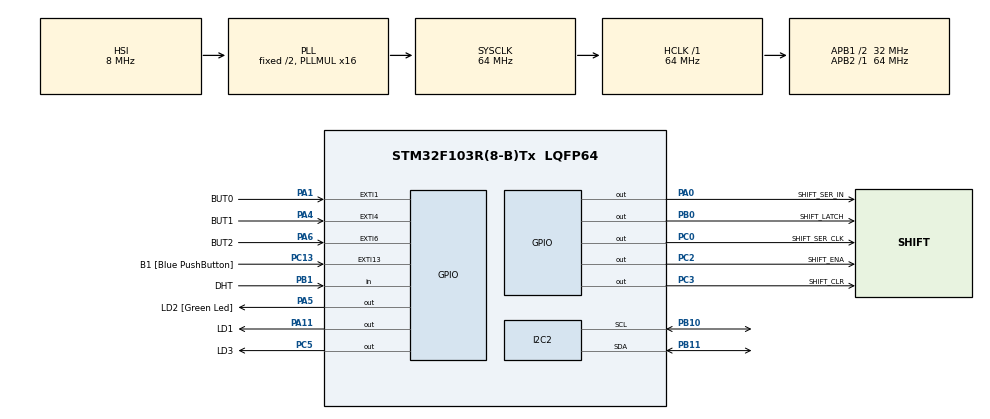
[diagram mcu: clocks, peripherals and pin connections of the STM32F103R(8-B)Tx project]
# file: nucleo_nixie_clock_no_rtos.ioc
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Mcu.Family=STM32F1
Mcu.Name=STM32F103R(8-B)Tx
Mcu.Package=LQFP64
NVIC.EXTI1_IRQn=true\:0\:0\:false\:true\:true\:3\:true
NVIC.EXTI4_IRQn=true\:0\:0\:false\:true\:true\:1\:true
NVIC.EXTI9_5_IRQn=true\:0\:0\:false\:true\:true\:2\:true
NVIC.PriorityGroup=NVIC_PRIORITYGROUP_4
NVIC.TIM3_IRQn=true\:0\:0\:false\:false\:true\:true
PA0-WKUP.GPIO_Label=SHIFT_SER_IN
PA0-WKUP.Signal=GPIO_Output
PA1.GPIO_Label=BUT0
PA1.GPIO_ModeDefaultEXTI=GPIO_MODE_IT_RISING_FALLING
PA1.GPIO_PuPd=GPIO_PULLUP
PA1.Signal=GPXTI1
PA11.GPIO_Label=LD1
PA11.Signal=GPIO_Output
PA13.GPIO_Label=TMS
PA13.Mode=Serial_Wire
PA13.Signal=SYS_JTMS-SWDIO
PA14.GPIO_Label=TCK
PA14.Mode=Serial_Wire
PA14.Signal=SYS_JTCK-SWCLK
PA2.GPIO_Label=USART_TX
PA2.GPIO_Mode=GPIO_MODE_AF_PP
PA2.GPIO_PuPd=GPIO_NOPULL
PA2.GPIO_Speed=GPIO_SPEED_FREQ_LOW
PA2.Signal=USART2_TX
PA3.GPIO_Label=USART_RX
PA3.GPIO_Mode=GPIO_MODE_AF_PP
PA3.GPIO_PuPd=GPIO_NOPULL
PA3.GPIO_Speed=GPIO_SPEED_FREQ_LOW
PA3.Signal=USART2_RX
PA4.GPIO_Label=BUT1
PA4.GPIO_ModeDefaultEXTI=GPIO_MODE_IT_RISING_FALLING
PA4.GPIO_PuPd=GPIO_PULLUP
PA4.Signal=GPXTI4
PA5.GPIO_Label=LD2 [Green Led]
PA5.GPIO_ModeDefaultOutputPP=GPIO_MODE_OUTPUT_PP
PA5.GPIO_PuPd=GPIO_NOPULL
PA5.GPIO_Speed=GPIO_SPEED_FREQ_LOW
PA5.Signal=GPIO_Output
PA6.GPIO_Label=BUT2
PA6.GPIO_ModeDefaultEXTI=GPIO_MODE_IT_RISING_FALLING
PA6.GPIO_PuPd=GPIO_PULLUP
PA6.Signal=GPXTI6
PB0.GPIO_Label=SHIFT_LATCH
PB0.Signal=GPIO_Output
PB1.GPIO_Label=DHT
PB1.Signal=GPIO_Input
PB10.Mode=I2C
PB10.Signal=I2C2_SCL
PB11.Mode=I2C
PB11.Signal=I2C2_SDA
PB3.GPIO_Label=SWO
PB3.Signal=SYS_JTDO-TRACESWO
PC0.GPIO_Label=SHIFT_SER_CLK
PC0.Signal=GPIO_Output
PC13-TAMPER-RTC.GPIO_Label=B1 [Blue PushButton]
PC13-TAMPER-RTC.GPIO_ModeDefaultEXTI=GPIO_MODE_IT_FALLING
PC13-TAMPER-RTC.GPIO_PuPd=GPIO_NOPULL
PC13-TAMPER-RTC.Signal=GPXTI13
PC14-OSC32_IN.Signal=RCC_OSC32_IN
PC15-OSC32_OUT.Signal=RCC_OSC32_OUT
PC2.GPIO_Label=SHIFT_ENA
PC2.Signal=GPIO_Output
PC3.GPIO_Label=SHIFT_CLR
PC3.Signal=GPIO_Output
PC5.GPIO_Label=LD3
PC5.Signal=GPIO_Output
PD0-OSC_IN.Signal=RCC_OSC_IN
PD1-OSC_OUT.Signal=RCC_OSC_OUT
ProjectManager.HeapSize=0x200
ProjectManager.StackSize=0x400
ProjectManager.TargetToolchain=SW4STM32
RCC.AHBFreq_Value=64000000
RCC.APB1CLKDivider=RCC_HCLK_DIV2
RCC.APB1Freq_Value=32000000
RCC.APB1TimFreq_Value=64000000
RCC.APB2Freq_Value=64000000
RCC.APB2TimFreq_Value=64000000
RCC.HCLKFreq_Value=64000000
RCC.PLLMUL=RCC_PLL_MUL16
RCC.SYSCLKFreq_VALUE=64000000
RCC.SYSCLKSource=RCC_SYSCLKSOURCE_PLLCLK
RCC.USBFreq_Value=64000000
TIM3.AutoReloadPreload=TIM_AUTORELOAD_PRELOAD_ENABLE
TIM3.Period=1000
TIM3.Prescaler=64000
VP_TIM3_VS_ClockSourceINT.Mode=Internal
board=NUCLEO-F103RB

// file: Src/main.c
/* USER CODE BEGIN Header */
/**
 ******************************************************************************
 * @file           : main.c
 * @brief          : Main program body
 ******************************************************************************
 ** This notice applies to any and all portions of this file
 * that are not between comment pairs USER CODE BEGIN and
 * USER CODE END. Other portions of this file, whether
 * inserted by the user or by software development tools
 * are owned by their respective copyright owners.
 *
 * COPYRIGHT(c) 2019 STMicroelectronics
 *
 * Redistribution and use in source and binary forms, with or without modification,
 * are permitted provided that the following conditions are met:
 *   1. Redistributions of source code must retain the above copyright notice,
 *      this list of conditions and the following disclaimer.
 *   2. Redistributions in binary form must reproduce the above copyright notice,
 *      this list of conditions and the following disclaimer in the documentation
 *      and/or other materials provided with the distribution.
 *   3. Neither the name of STMicroelectronics nor the names of its contributors
 *      may be used to endorse or promote products derived from this software
 *      without specific prior written permission.
 *
 * THIS SOFTWARE IS PROVIDED BY THE COPYRIGHT HOLDERS AND CONTRIBUTORS "AS IS"
 * AND ANY EXPRESS OR IMPLIED WARRANTIES, INCLUDING, BUT NOT LIMITED TO, THE
 * IMPLIED WARRANTIES OF MERCHANTABILITY AND FITNESS FOR A PARTICULAR PURPOSE ARE
 * DISCLAIMED. IN NO EVENT SHALL THE COPYRIGHT HOLDER OR CONTRIBUTORS BE LIABLE
 * FOR ANY DIRECT, INDIRECT, INCIDENTAL, SPECIAL, EXEMPLARY, OR CONSEQUENTIAL
 * DAMAGES (INCLUDING, BUT NOT LIMITED TO, PROCUREMENT OF SUBSTITUTE GOODS OR
 * SERVICES; LOSS OF USE, DATA, OR PROFITS; OR BUSINESS INTERRUPTION) HOWEVER
 * CAUSED AND ON ANY THEORY OF LIABILITY, WHETHER IN CONTRACT, STRICT LIABILITY,
 * OR TORT (INCLUDING NEGLIGENCE OR OTHERWISE) ARISING IN ANY WAY OUT OF THE USE
 * OF THIS SOFTWARE, EVEN IF ADVISED OF THE POSSIBILITY OF SUCH DAMAGE.
 *
 ******************************************************************************
 */
/* USER CODE END Header */

#include "main.h"

/* USER CODE BEGIN Includes */
#include "screen.h"
#include "ssd1306.h"
#include "RTC_dev.h"
#include "nixie.h"
#include "states.h"
#include "SN54HC595.h"
#include "config.h"
/* USER CODE END Includes */

I2C_HandleTypeDef hi2c2;

TIM_HandleTypeDef htim3;

/* USER CODE BEGIN PV */
/* Private variables ---------------------------------------------------------*/
/* USER CODE END PV */

void SystemClock_Config(void);
static void MX_GPIO_Init(void);
static void MX_I2C2_Init(void);
static void MX_TIM3_Init(void);
static void MX_NVIC_Init(void);
/* USER CODE BEGIN PFP */
/* Private function prototypes -----------------------------------------------*/

/* USER CODE END PFP */

/* USER CODE BEGIN 0 */
#define NIXIE_SEC_INDEX_LSB 0
#define NIXIE_MIN_INDEX_LSB 0
#define NIXIE_HOUR_INDEX_LSB 2

void convert_time_to_shift(void)
{
	//	volatile unsigned char seconds = RTC_dev_time_get_sec();
	//	nixie_split_set_digit(seconds, NIXIE_SEC_INDEX_LSB);
	volatile unsigned char minutes = RTC_dev_time_get_min();
	nixie_split_set_digit(minutes, NIXIE_MIN_INDEX_LSB);
	volatile unsigned char hours = RTC_dev_time_get_hour();
	nixie_split_set_digit(hours, NIXIE_HOUR_INDEX_LSB);
	volatile unsigned char *output = nixie_compile_output();
	SN54HC595_out_bytes((unsigned char *)output, CHECK_ODD(NIXIE_DEVICES));
}
/* USER CODE END 0 */

int main(void)
{

	/* MCU Configuration--------------------------------------------------------*/

	/* Reset of all peripherals, Initializes the Flash interface and the Systick. */
	HAL_Init();

	/* Configure the system clock */
	SystemClock_Config();

	/* Initialize all configured peripherals */
	MX_GPIO_Init();
	MX_I2C2_Init();
	MX_TIM3_Init();

	/* Initialize interrupts */
	MX_NVIC_Init();
	/* USER CODE BEGIN 2 */
	SN54HC595_init();
#ifdef SCREEN_ON
	ssd1306_init();
	screen_init();
#endif
	RTC_dev_init(1);
	nixie_enable_all();
	states_init();

	// eeprom
	//	 AT24Cxx_devices_t device_array;
	//
	//	 AT24Cxx_init(&device_array, 0x00, &hi2c2);
	//INIT END

	//	 AT24Cxx_write_byte_buffer(device_array.devices[0], 0x0010, test_bytes, 66);
	//
	//	 HAL_Delay(2);
	//
	//	 AT24Cxx_read_byte_buffer(device_array.devices[0], 0x0010, test_receive, 66);

	HAL_TIM_Base_Start_IT(&htim3);
	/* USER CODE END 2 */

	/* Infinite loop */
	while (1) {

		/* USER CODE BEGIN 3 */
#ifdef SCREEN_ON
		screen_clear();
#endif
		states_run();
//		convert_time_to_shift();
#ifdef SCREEN_ON
		screen_refresh(NULL);
#endif
	}
	/* USER CODE END 3 */
}

void SystemClock_Config(void)
{
	RCC_OscInitTypeDef RCC_OscInitStruct = { 0 };
	RCC_ClkInitTypeDef RCC_ClkInitStruct = { 0 };

	/**Initializes the CPU, AHB and APB busses clocks
  */
	RCC_OscInitStruct.OscillatorType = RCC_OSCILLATORTYPE_HSI;
	RCC_OscInitStruct.HSIState = RCC_HSI_ON;
	RCC_OscInitStruct.HSICalibrationValue = RCC_HSICALIBRATION_DEFAULT;
	RCC_OscInitStruct.PLL.PLLState = RCC_PLL_ON;
	RCC_OscInitStruct.PLL.PLLSource = RCC_PLLSOURCE_HSI_DIV2;
	RCC_OscInitStruct.PLL.PLLMUL = RCC_PLL_MUL16;
	if (HAL_RCC_OscConfig(&RCC_OscInitStruct) != HAL_OK) {
		Error_Handler();
	}
	/**Initializes the CPU, AHB and APB busses clocks
  */
	RCC_ClkInitStruct.ClockType = RCC_CLOCKTYPE_HCLK |
				      RCC_CLOCKTYPE_SYSCLK |
				      RCC_CLOCKTYPE_PCLK1 | RCC_CLOCKTYPE_PCLK2;
	RCC_ClkInitStruct.SYSCLKSource = RCC_SYSCLKSOURCE_PLLCLK;
	RCC_ClkInitStruct.AHBCLKDivider = RCC_SYSCLK_DIV1;
	RCC_ClkInitStruct.APB1CLKDivider = RCC_HCLK_DIV2;
	RCC_ClkInitStruct.APB2CLKDivider = RCC_HCLK_DIV1;

	if (HAL_RCC_ClockConfig(&RCC_ClkInitStruct, FLASH_LATENCY_2) !=
	    HAL_OK) {
		Error_Handler();
	}
}

/**
  * @brief NVIC Configuration.
  * @retval None
  */
static void MX_NVIC_Init(void)
{
	/* EXTI4_IRQn interrupt configuration */
	HAL_NVIC_SetPriority(EXTI4_IRQn, 0, 0);
	HAL_NVIC_EnableIRQ(EXTI4_IRQn);
	/* EXTI9_5_IRQn interrupt configuration */
	HAL_NVIC_SetPriority(EXTI9_5_IRQn, 0, 0);
	HAL_NVIC_EnableIRQ(EXTI9_5_IRQn);
	/* EXTI1_IRQn interrupt configuration */
	HAL_NVIC_SetPriority(EXTI1_IRQn, 0, 0);
	HAL_NVIC_EnableIRQ(EXTI1_IRQn);
}

static void MX_I2C2_Init(void)
{

	hi2c2.Instance = I2C2;
	hi2c2.Init.ClockSpeed = 100000;
	hi2c2.Init.DutyCycle = I2C_DUTYCYCLE_2;
	hi2c2.Init.OwnAddress1 = 0;
	hi2c2.Init.AddressingMode = I2C_ADDRESSINGMODE_7BIT;
	hi2c2.Init.DualAddressMode = I2C_DUALADDRESS_DISABLE;
	hi2c2.Init.OwnAddress2 = 0;
	hi2c2.Init.GeneralCallMode = I2C_GENERALCALL_DISABLE;
	hi2c2.Init.NoStretchMode = I2C_NOSTRETCH_DISABLE;
	if (HAL_I2C_Init(&hi2c2) != HAL_OK) {
		Error_Handler();
	}
}

static void MX_TIM3_Init(void)
{

	TIM_ClockConfigTypeDef sClockSourceConfig = { 0 };
	TIM_MasterConfigTypeDef sMasterConfig = { 0 };

	htim3.Instance = TIM3;
	htim3.Init.Prescaler = 64000;
	htim3.Init.CounterMode = TIM_COUNTERMODE_UP;
	htim3.Init.Period = 1000;
	htim3.Init.ClockDivision = TIM_CLOCKDIVISION_DIV1;
	htim3.Init.AutoReloadPreload = TIM_AUTORELOAD_PRELOAD_ENABLE;
	if (HAL_TIM_Base_Init(&htim3) != HAL_OK) {
		Error_Handler();
	}
	sClockSourceConfig.ClockSource = TIM_CLOCKSOURCE_INTERNAL;
	if (HAL_TIM_ConfigClockSource(&htim3, &sClockSourceConfig) != HAL_OK) {
		Error_Handler();
	}
	sMasterConfig.MasterOutputTrigger = TIM_TRGO_RESET;
	sMasterConfig.MasterSlaveMode = TIM_MASTERSLAVEMODE_DISABLE;
	if (HAL_TIMEx_MasterConfigSynchronization(&htim3, &sMasterConfig) !=
	    HAL_OK) {
		Error_Handler();
	}
}

static void MX_GPIO_Init(void)
{
	GPIO_InitTypeDef GPIO_InitStruct = { 0 };

	/* GPIO Ports Clock Enable */
	__HAL_RCC_GPIOC_CLK_ENABLE();
	__HAL_RCC_GPIOD_CLK_ENABLE();
	__HAL_RCC_GPIOA_CLK_ENABLE();
	__HAL_RCC_GPIOB_CLK_ENABLE();

	/*Configure GPIO pin Output Level */
	HAL_GPIO_WritePin(GPIOC,
			  SHIFT_SER_CLK_Pin | SHIFT_ENA_Pin | SHIFT_CLR_Pin |
				  LD3_Pin,
			  GPIO_PIN_RESET);

	/*Configure GPIO pin Output Level */
	HAL_GPIO_WritePin(GPIOA, SHIFT_SER_IN_Pin | LD2_Pin | LD1_Pin,
			  GPIO_PIN_RESET);

	/*Configure GPIO pin Output Level */
	HAL_GPIO_WritePin(SHIFT_LATCH_GPIO_Port, SHIFT_LATCH_Pin,
			  GPIO_PIN_RESET);

	/*Configure GPIO pin : B1_Pin */
	GPIO_InitStruct.Pin = B1_Pin;
	GPIO_InitStruct.Mode = GPIO_MODE_IT_FALLING;
	GPIO_InitStruct.Pull = GPIO_NOPULL;
	HAL_GPIO_Init(B1_GPIO_Port, &GPIO_InitStruct);

	/*Configure GPIO pins : SHIFT_SER_CLK_Pin SHIFT_ENA_Pin SHIFT_CLR_Pin LD3_Pin */
	GPIO_InitStruct.Pin =
		SHIFT_SER_CLK_Pin | SHIFT_ENA_Pin | SHIFT_CLR_Pin | LD3_Pin;
	GPIO_InitStruct.Mode = GPIO_MODE_OUTPUT_PP;
	GPIO_InitStruct.Pull = GPIO_NOPULL;
	GPIO_InitStruct.Speed = GPIO_SPEED_FREQ_LOW;
	HAL_GPIO_Init(GPIOC, &GPIO_InitStruct);

	/*Configure GPIO pins : SHIFT_SER_IN_Pin LD2_Pin LD1_Pin */
	GPIO_InitStruct.Pin = SHIFT_SER_IN_Pin | LD2_Pin | LD1_Pin;
	GPIO_InitStruct.Mode = GPIO_MODE_OUTPUT_PP;
	GPIO_InitStruct.Pull = GPIO_NOPULL;
	GPIO_InitStruct.Speed = GPIO_SPEED_FREQ_LOW;
	HAL_GPIO_Init(GPIOA, &GPIO_InitStruct);

	/*Configure GPIO pins : BUT0_Pin BUT1_Pin BUT2_Pin */
	GPIO_InitStruct.Pin = BUT0_Pin | BUT1_Pin | BUT2_Pin;
	GPIO_InitStruct.Mode = GPIO_MODE_IT_RISING_FALLING;
	GPIO_InitStruct.Pull = GPIO_PULLUP;
	HAL_GPIO_Init(GPIOA, &GPIO_InitStruct);

	/*Configure GPIO pins : USART_TX_Pin USART_RX_Pin */
	GPIO_InitStruct.Pin = USART_TX_Pin | USART_RX_Pin;
	GPIO_InitStruct.Mode = GPIO_MODE_AF_PP;
	GPIO_InitStruct.Speed = GPIO_SPEED_FREQ_LOW;
	HAL_GPIO_Init(GPIOA, &GPIO_InitStruct);

	/*Configure GPIO pin : SHIFT_LATCH_Pin */
	GPIO_InitStruct.Pin = SHIFT_LATCH_Pin;
	GPIO_InitStruct.Mode = GPIO_MODE_OUTPUT_PP;
	GPIO_InitStruct.Pull = GPIO_NOPULL;
	GPIO_InitStruct.Speed = GPIO_SPEED_FREQ_LOW;
	HAL_GPIO_Init(SHIFT_LATCH_GPIO_Port, &GPIO_InitStruct);

	/*Configure GPIO pin : DHT_Pin */
	GPIO_InitStruct.Pin = DHT_Pin;
	GPIO_InitStruct.Mode = GPIO_MODE_INPUT;
	GPIO_InitStruct.Pull = GPIO_NOPULL;
	HAL_GPIO_Init(DHT_GPIO_Port, &GPIO_InitStruct);
}

void Error_Handler(void)
{
	while (1) {
	}
}

/************************ (C) COPYRIGHT STMicroelectronics *****END OF FILE****/
